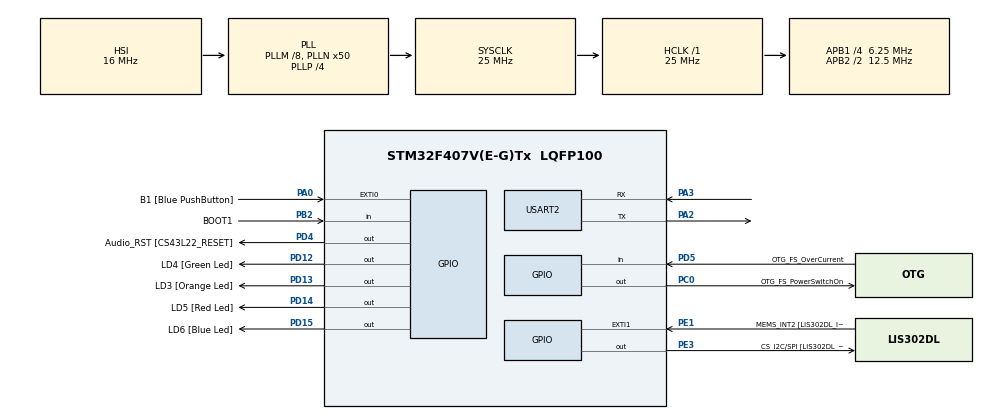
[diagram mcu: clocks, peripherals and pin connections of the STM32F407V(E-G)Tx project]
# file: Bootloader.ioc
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Mcu.Family=STM32F4
Mcu.Name=STM32F407V(E-G)Tx
Mcu.Package=LQFP100
NVIC.PriorityGroup=NVIC_PRIORITYGROUP_0
PA0-WKUP.GPIO_Label=B1 [Blue PushButton]
PA0-WKUP.Signal=GPXTI0
PA10.GPIO_Label=OTG_FS_ID
PA10.GPIO_Mode=GPIO_MODE_AF_PP
PA10.GPIO_PuPd=GPIO_NOPULL
PA10.GPIO_Speed=GPIO_SPEED_FREQ_LOW
PA10.Signal=USB_OTG_FS_ID
PA11.GPIO_Label=OTG_FS_DM
PA11.GPIO_Mode=GPIO_MODE_AF_PP
PA11.GPIO_PuPd=GPIO_NOPULL
PA11.GPIO_Speed=GPIO_SPEED_FREQ_LOW
PA11.Signal=USB_OTG_FS_DM
PA12.GPIO_Label=OTG_FS_DP
PA12.GPIO_Mode=GPIO_MODE_AF_PP
PA12.GPIO_PuPd=GPIO_NOPULL
PA12.GPIO_Speed=GPIO_SPEED_FREQ_LOW
PA12.Signal=USB_OTG_FS_DP
PA13.GPIO_Label=SWDIO
PA13.Signal=SYS_JTMS-SWDIO
PA14.GPIO_Label=SWCLK
PA14.Signal=SYS_JTCK-SWCLK
PA2.Mode=Asynchronous
PA2.Signal=USART2_TX
PA3.Mode=Asynchronous
PA3.Signal=USART2_RX
PA4.GPIO_Label=I2S3_WS [CS43L22_LRCK]
PA4.GPIO_Mode=GPIO_MODE_AF_PP
PA4.GPIO_PuPd=GPIO_NOPULL
PA4.GPIO_Speed=GPIO_SPEED_FREQ_LOW
PA4.Signal=I2S3_WS
PA5.GPIO_Label=SPI1_SCK [LIS302DL_SCL/SPC]
PA5.GPIO_Mode=GPIO_MODE_AF_PP
PA5.GPIO_PuPd=GPIO_NOPULL
PA5.GPIO_Speed=GPIO_SPEED_FREQ_LOW
PA5.Signal=SPI1_SCK
PA6.GPIO_Label=SPI1_MISO [LIS302DL_SDO]
PA6.GPIO_Mode=GPIO_MODE_AF_PP
PA6.GPIO_PuPd=GPIO_NOPULL
PA6.GPIO_Speed=GPIO_SPEED_FREQ_LOW
PA6.Signal=SPI1_MISO
PA7.GPIO_Label=SPI1_MOSI [LIS302DL_SDA/SDI/SDO]
PA7.GPIO_Mode=GPIO_MODE_AF_PP
PA7.GPIO_PuPd=GPIO_NOPULL
PA7.GPIO_Speed=GPIO_SPEED_FREQ_LOW
PA7.Signal=SPI1_MOSI
PA9.GPIO_Label=VBUS_FS
PA9.GPIO_Mode=GPIO_MODE_INPUT
PA9.GPIO_PuPd=GPIO_NOPULL
PA9.Signal=USB_OTG_FS_VBUS
PB10.GPIO_Label=CLK_IN [MP45DT02_CLK]
PB10.GPIO_Mode=GPIO_MODE_AF_PP
PB10.GPIO_PuPd=GPIO_NOPULL
PB10.GPIO_Speed=GPIO_SPEED_FREQ_LOW
PB10.Signal=I2S2_CK
PB2.GPIO_Label=BOOT1
PB2.GPIO_Mode=GPIO_MODE_INPUT
PB2.GPIO_PuPd=GPIO_NOPULL
PB2.Signal=GPIO_Input
PB3.GPIO_Label=SWO
PB3.Signal=SYS_JTDO-SWO
PB6.GPIO_Label=Audio_SCL [CS43L22_SCL]
PB6.GPIO_Mode=GPIO_MODE_AF_OD
PB6.GPIO_PuPd=GPIO_NOPULL
PB6.GPIO_Speed=GPIO_SPEED_FREQ_LOW
PB6.Signal=I2C1_SCL
PB9.GPIO_Label=Audio_SDA [CS43L22_SDA]
PB9.GPIO_Mode=GPIO_MODE_AF_OD
PB9.GPIO_PuPd=GPIO_NOPULL
PB9.GPIO_Speed=GPIO_SPEED_FREQ_LOW
PB9.Signal=I2C1_SDA
PC0.GPIO_Label=OTG_FS_PowerSwitchOn
PC0.GPIO_PuPd=GPIO_NOPULL
PC0.GPIO_Speed=GPIO_SPEED_FREQ_LOW
PC0.PinState=GPIO_PIN_SET
PC0.Signal=GPIO_Output
PC10.GPIO_Label=I2S3_SCK [CS43L22_SCLK]
PC10.GPIO_Mode=GPIO_MODE_AF_PP
PC10.GPIO_PuPd=GPIO_NOPULL
PC10.GPIO_Speed=GPIO_SPEED_FREQ_LOW
PC10.Signal=I2S3_CK
PC12.GPIO_Label=I2S3_SD [CS43L22_SDIN]
PC12.GPIO_Mode=GPIO_MODE_AF_PP
PC12.GPIO_PuPd=GPIO_NOPULL
PC12.GPIO_Speed=GPIO_SPEED_FREQ_LOW
PC12.Signal=I2S3_SD
PC14-OSC32_IN.GPIO_Label=PC14-OSC32_IN
PC14-OSC32_IN.Signal=RCC_OSC32_IN
PC15-OSC32_OUT.GPIO_Label=PC15-OSC32_OUT
PC15-OSC32_OUT.Signal=RCC_OSC32_OUT
PC3.GPIO_Label=PDM_OUT [MP45DT02_DOUT]
PC3.GPIO_Mode=GPIO_MODE_AF_PP
PC3.GPIO_PuPd=GPIO_NOPULL
PC3.GPIO_Speed=GPIO_SPEED_FREQ_LOW
PC3.Signal=I2S2_SD
PC7.GPIO_Label=I2S3_MCK [CS43L22_MCLK]
PC7.GPIO_Mode=GPIO_MODE_AF_PP
PC7.GPIO_PuPd=GPIO_NOPULL
PC7.GPIO_Speed=GPIO_SPEED_FREQ_LOW
PC7.Signal=I2S3_MCK
PD12.GPIO_Label=LD4 [Green Led]
PD12.GPIO_PuPd=GPIO_NOPULL
PD12.GPIO_Speed=GPIO_SPEED_FREQ_LOW
PD12.Signal=GPIO_Output
PD13.GPIO_Label=LD3 [Orange Led]
PD13.GPIO_PuPd=GPIO_NOPULL
PD13.GPIO_Speed=GPIO_SPEED_FREQ_LOW
PD13.Signal=GPIO_Output
PD14.GPIO_Label=LD5 [Red Led]
PD14.GPIO_PuPd=GPIO_NOPULL
PD14.GPIO_Speed=GPIO_SPEED_FREQ_LOW
PD14.Signal=GPIO_Output
PD15.GPIO_Label=LD6 [Blue Led]
PD15.GPIO_PuPd=GPIO_NOPULL
PD15.GPIO_Speed=GPIO_SPEED_FREQ_LOW
PD15.Signal=GPIO_Output
PD4.GPIO_Label=Audio_RST [CS43L22_RESET]
PD4.GPIO_PuPd=GPIO_NOPULL
PD4.GPIO_Speed=GPIO_SPEED_FREQ_LOW
PD4.Signal=GPIO_Output
PD5.GPIO_Label=OTG_FS_OverCurrent
PD5.GPIO_Mode=GPIO_MODE_INPUT
PD5.GPIO_PuPd=GPIO_NOPULL
PD5.Signal=GPIO_Input
PE1.GPIO_Label=MEMS_INT2 [LIS302DL_INT2]
PE1.GPIO_ModeDefaultEXTI=GPIO_MODE_EVT_RISING
PE1.GPIO_PuPd=GPIO_NOPULL
PE1.Signal=GPXTI1
PE3.GPIO_Label=CS_I2C/SPI [LIS302DL_CS_I2C/SPI]
PE3.GPIO_PuPd=GPIO_NOPULL
PE3.GPIO_Speed=GPIO_SPEED_FREQ_LOW
PE3.Signal=GPIO_Output
PH0-OSC_IN.GPIO_Label=PH0-OSC_IN
PH0-OSC_IN.Signal=RCC_OSC_IN
PH1-OSC_OUT.GPIO_Label=PH1-OSC_OUT
PH1-OSC_OUT.Signal=RCC_OSC_OUT
ProjectManager.HeapSize=0x200
ProjectManager.StackSize=0x400
ProjectManager.TargetToolchain=STM32CubeIDE
RCC.48MHZClocksFreq_Value=14285714.285714285
RCC.AHBFreq_Value=25000000
RCC.APB1CLKDivider=RCC_HCLK_DIV4
RCC.APB1Freq_Value=6250000
RCC.APB1TimFreq_Value=12500000
RCC.APB2CLKDivider=RCC_HCLK_DIV2
RCC.APB2Freq_Value=12500000
RCC.APB2TimFreq_Value=25000000
RCC.CortexFreq_Value=25000000
RCC.HCLKFreq_Value=25000000
RCC.HSE_VALUE=8000000
RCC.HSI_VALUE=16000000
RCC.LSE_VALUE=32768
RCC.PLLM=8
RCC.PLLN=50
RCC.PLLP=RCC_PLLP_DIV4
RCC.PLLQ=7
RCC.SYSCLKFreq_VALUE=25000000
RCC.SYSCLKSource=RCC_SYSCLKSOURCE_PLLCLK
RCC.VCOOutputFreq_Value=100000000
USART2.VirtualMode=VM_ASYNC
VP_CRC_VS_CRC.Mode=CRC_Activate
board=STM32F407G-DISC1

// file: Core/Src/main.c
/* USER CODE BEGIN Header */
/**
  ******************************************************************************
  * @file           : main.c
  * @brief          : Main program body
  ******************************************************************************
  * @attention
  *
  * <h2><center>&copy; Copyright (c) 2025 STMicroelectronics.
  * All rights reserved.</center></h2>
  *
  * This software component is licensed by ST under BSD 3-Clause license,
  * the "License"; You may not use this file except in compliance with the
  * License. You may obtain a copy of the License at:
  *                        opensource.org/licenses/BSD-3-Clause
  *
  ******************************************************************************
  */
/* USER CODE END Header */
#include "main.h"

/* USER CODE BEGIN Includes */
#include "string.h"
#include "BL.h"
/* USER CODE END Includes */

/* USER CODE BEGIN PM */
/*start flash region for user*/
#define FLASH_SECTOR2_BASE_ADDRESS       0X08008000UL
/* USER CODE END PM */

CRC_HandleTypeDef hcrc;

UART_HandleTypeDef huart2;

void SystemClock_Config(void);
static void MX_GPIO_Init(void);
static void MX_CRC_Init(void);
static void MX_USART2_UART_Init(void);

int main(void)
{
  /* USER CODE BEGIN 1 */
char HelloBootloader[]= "Hello From Bootloader\r\n" ;
  /* USER CODE END 1 */

  /* MCU Configuration--------------------------------------------------------*/

  /* Reset of all peripherals, Initializes the Flash interface and the Systick. */
  HAL_Init();

  /* Configure the system clock */
  SystemClock_Config();

  /* Initialize all configured peripherals */
  MX_GPIO_Init();
  MX_CRC_Init();
  MX_USART2_UART_Init();
  /* USER CODE BEGIN 2 */
   /*Read the button*/
 if( HAL_GPIO_ReadPin(B1_GPIO_Port, B1_Pin)== GPIO_PIN_SET)
 {
	 Bootloader_UartReadData();
 }else if(HAL_GPIO_ReadPin(B1_GPIO_Port, B1_Pin)== GPIO_PIN_RESET)
 {
	 Bootloader_JumpToUserApp();
 }
  /* USER CODE END 2 */

  /* Infinite loop */
  while (1)
  {

    /* USER CODE BEGIN 3 */
	  HAL_UART_Transmit(&huart2, (uint8_t*)HelloBootloader, sizeof(HelloBootloader), HAL_MAX_DELAY);
	      HAL_Delay(1000);
  }
  /* USER CODE END 3 */
}

void SystemClock_Config(void)
{
  RCC_OscInitTypeDef RCC_OscInitStruct = {0};
  RCC_ClkInitTypeDef RCC_ClkInitStruct = {0};

  /** Configure the main internal regulator output voltage
  */
  __HAL_RCC_PWR_CLK_ENABLE();
  __HAL_PWR_VOLTAGESCALING_CONFIG(PWR_REGULATOR_VOLTAGE_SCALE1);
  /** Initializes the RCC Oscillators according to the specified parameters
  * in the RCC_OscInitTypeDef structure.
  */
  RCC_OscInitStruct.OscillatorType = RCC_OSCILLATORTYPE_HSI;
  RCC_OscInitStruct.HSIState = RCC_HSI_ON;
  RCC_OscInitStruct.HSICalibrationValue = RCC_HSICALIBRATION_DEFAULT;
  RCC_OscInitStruct.PLL.PLLState = RCC_PLL_ON;
  RCC_OscInitStruct.PLL.PLLSource = RCC_PLLSOURCE_HSI;
  RCC_OscInitStruct.PLL.PLLM = 8;
  RCC_OscInitStruct.PLL.PLLN = 50;
  RCC_OscInitStruct.PLL.PLLP = RCC_PLLP_DIV4;
  RCC_OscInitStruct.PLL.PLLQ = 7;
  if (HAL_RCC_OscConfig(&RCC_OscInitStruct) != HAL_OK)
  {
    Error_Handler();
  }
  /** Initializes the CPU, AHB and APB buses clocks
  */
  RCC_ClkInitStruct.ClockType = RCC_CLOCKTYPE_HCLK|RCC_CLOCKTYPE_SYSCLK
                              |RCC_CLOCKTYPE_PCLK1|RCC_CLOCKTYPE_PCLK2;
  RCC_ClkInitStruct.SYSCLKSource = RCC_SYSCLKSOURCE_PLLCLK;
  RCC_ClkInitStruct.AHBCLKDivider = RCC_SYSCLK_DIV1;
  RCC_ClkInitStruct.APB1CLKDivider = RCC_HCLK_DIV4;
  RCC_ClkInitStruct.APB2CLKDivider = RCC_HCLK_DIV2;

  if (HAL_RCC_ClockConfig(&RCC_ClkInitStruct, FLASH_LATENCY_0) != HAL_OK)
  {
    Error_Handler();
  }
}

static void MX_CRC_Init(void)
{

  hcrc.Instance = CRC;
  if (HAL_CRC_Init(&hcrc) != HAL_OK)
  {
    Error_Handler();
  }

}

static void MX_USART2_UART_Init(void)
{

  huart2.Instance = USART2;
  huart2.Init.BaudRate = 115200;
  huart2.Init.WordLength = UART_WORDLENGTH_8B;
  huart2.Init.StopBits = UART_STOPBITS_1;
  huart2.Init.Parity = UART_PARITY_NONE;
  huart2.Init.Mode = UART_MODE_TX_RX;
  huart2.Init.HwFlowCtl = UART_HWCONTROL_NONE;
  huart2.Init.OverSampling = UART_OVERSAMPLING_16;
  if (HAL_UART_Init(&huart2) != HAL_OK)
  {
    Error_Handler();
  }

}

static void MX_GPIO_Init(void)
{
  GPIO_InitTypeDef GPIO_InitStruct = {0};

  /* GPIO Ports Clock Enable */
  __HAL_RCC_GPIOE_CLK_ENABLE();
  __HAL_RCC_GPIOC_CLK_ENABLE();
  __HAL_RCC_GPIOH_CLK_ENABLE();
  __HAL_RCC_GPIOA_CLK_ENABLE();
  __HAL_RCC_GPIOB_CLK_ENABLE();
  __HAL_RCC_GPIOD_CLK_ENABLE();

  /*Configure GPIO pin Output Level */
  HAL_GPIO_WritePin(CS_I2C_SPI_GPIO_Port, CS_I2C_SPI_Pin, GPIO_PIN_RESET);

  /*Configure GPIO pin Output Level */
  HAL_GPIO_WritePin(OTG_FS_PowerSwitchOn_GPIO_Port, OTG_FS_PowerSwitchOn_Pin, GPIO_PIN_SET);

  /*Configure GPIO pin Output Level */
  HAL_GPIO_WritePin(GPIOD, LD4_Pin|LD3_Pin|LD5_Pin|LD6_Pin
                          |Audio_RST_Pin, GPIO_PIN_RESET);

  /*Configure GPIO pin : CS_I2C_SPI_Pin */
  GPIO_InitStruct.Pin = CS_I2C_SPI_Pin;
  GPIO_InitStruct.Mode = GPIO_MODE_OUTPUT_PP;
  GPIO_InitStruct.Pull = GPIO_NOPULL;
  GPIO_InitStruct.Speed = GPIO_SPEED_FREQ_LOW;
  HAL_GPIO_Init(CS_I2C_SPI_GPIO_Port, &GPIO_InitStruct);

  /*Configure GPIO pin : OTG_FS_PowerSwitchOn_Pin */
  GPIO_InitStruct.Pin = OTG_FS_PowerSwitchOn_Pin;
  GPIO_InitStruct.Mode = GPIO_MODE_OUTPUT_PP;
  GPIO_InitStruct.Pull = GPIO_NOPULL;
  GPIO_InitStruct.Speed = GPIO_SPEED_FREQ_LOW;
  HAL_GPIO_Init(OTG_FS_PowerSwitchOn_GPIO_Port, &GPIO_InitStruct);

  /*Configure GPIO pin : PDM_OUT_Pin */
  GPIO_InitStruct.Pin = PDM_OUT_Pin;
  GPIO_InitStruct.Mode = GPIO_MODE_AF_PP;
  GPIO_InitStruct.Pull = GPIO_NOPULL;
  GPIO_InitStruct.Speed = GPIO_SPEED_FREQ_LOW;
  GPIO_InitStruct.Alternate = GPIO_AF5_SPI2;
  HAL_GPIO_Init(PDM_OUT_GPIO_Port, &GPIO_InitStruct);

  /*Configure GPIO pin : B1_Pin */
  GPIO_InitStruct.Pin = B1_Pin;
  GPIO_InitStruct.Mode = GPIO_MODE_IT_RISING;
  GPIO_InitStruct.Pull = GPIO_NOPULL;
  HAL_GPIO_Init(B1_GPIO_Port, &GPIO_InitStruct);

  /*Configure GPIO pin : I2S3_WS_Pin */
  GPIO_InitStruct.Pin = I2S3_WS_Pin;
  GPIO_InitStruct.Mode = GPIO_MODE_AF_PP;
  GPIO_InitStruct.Pull = GPIO_NOPULL;
  GPIO_InitStruct.Speed = GPIO_SPEED_FREQ_LOW;
  GPIO_InitStruct.Alternate = GPIO_AF6_SPI3;
  HAL_GPIO_Init(I2S3_WS_GPIO_Port, &GPIO_InitStruct);

  /*Configure GPIO pins : SPI1_SCK_Pin SPI1_MISO_Pin SPI1_MOSI_Pin */
  GPIO_InitStruct.Pin = SPI1_SCK_Pin|SPI1_MISO_Pin|SPI1_MOSI_Pin;
  GPIO_InitStruct.Mode = GPIO_MODE_AF_PP;
  GPIO_InitStruct.Pull = GPIO_NOPULL;
  GPIO_InitStruct.Speed = GPIO_SPEED_FREQ_LOW;
  GPIO_InitStruct.Alternate = GPIO_AF5_SPI1;
  HAL_GPIO_Init(GPIOA, &GPIO_InitStruct);

  /*Configure GPIO pin : BOOT1_Pin */
  GPIO_InitStruct.Pin = BOOT1_Pin;
  GPIO_InitStruct.Mode = GPIO_MODE_INPUT;
  GPIO_InitStruct.Pull = GPIO_NOPULL;
  HAL_GPIO_Init(BOOT1_GPIO_Port, &GPIO_InitStruct);

  /*Configure GPIO pin : CLK_IN_Pin */
  GPIO_InitStruct.Pin = CLK_IN_Pin;
  GPIO_InitStruct.Mode = GPIO_MODE_AF_PP;
  GPIO_InitStruct.Pull = GPIO_NOPULL;
  GPIO_InitStruct.Speed = GPIO_SPEED_FREQ_LOW;
  GPIO_InitStruct.Alternate = GPIO_AF5_SPI2;
  HAL_GPIO_Init(CLK_IN_GPIO_Port, &GPIO_InitStruct);

  /*Configure GPIO pins : LD4_Pin LD3_Pin LD5_Pin LD6_Pin
                           Audio_RST_Pin */
  GPIO_InitStruct.Pin = LD4_Pin|LD3_Pin|LD5_Pin|LD6_Pin
                          |Audio_RST_Pin;
  GPIO_InitStruct.Mode = GPIO_MODE_OUTPUT_PP;
  GPIO_InitStruct.Pull = GPIO_NOPULL;
  GPIO_InitStruct.Speed = GPIO_SPEED_FREQ_LOW;
  HAL_GPIO_Init(GPIOD, &GPIO_InitStruct);

  /*Configure GPIO pins : I2S3_MCK_Pin I2S3_SCK_Pin I2S3_SD_Pin */
  GPIO_InitStruct.Pin = I2S3_MCK_Pin|I2S3_SCK_Pin|I2S3_SD_Pin;
  GPIO_InitStruct.Mode = GPIO_MODE_AF_PP;
  GPIO_InitStruct.Pull = GPIO_NOPULL;
  GPIO_InitStruct.Speed = GPIO_SPEED_FREQ_LOW;
  GPIO_InitStruct.Alternate = GPIO_AF6_SPI3;
  HAL_GPIO_Init(GPIOC, &GPIO_InitStruct);

  /*Configure GPIO pin : VBUS_FS_Pin */
  GPIO_InitStruct.Pin = VBUS_FS_Pin;
  GPIO_InitStruct.Mode = GPIO_MODE_INPUT;
  GPIO_InitStruct.Pull = GPIO_NOPULL;
  HAL_GPIO_Init(VBUS_FS_GPIO_Port, &GPIO_InitStruct);

  /*Configure GPIO pins : OTG_FS_ID_Pin OTG_FS_DM_Pin OTG_FS_DP_Pin */
  GPIO_InitStruct.Pin = OTG_FS_ID_Pin|OTG_FS_DM_Pin|OTG_FS_DP_Pin;
  GPIO_InitStruct.Mode = GPIO_MODE_AF_PP;
  GPIO_InitStruct.Pull = GPIO_NOPULL;
  GPIO_InitStruct.Speed = GPIO_SPEED_FREQ_LOW;
  GPIO_InitStruct.Alternate = GPIO_AF10_OTG_FS;
  HAL_GPIO_Init(GPIOA, &GPIO_InitStruct);

  /*Configure GPIO pin : OTG_FS_OverCurrent_Pin */
  GPIO_InitStruct.Pin = OTG_FS_OverCurrent_Pin;
  GPIO_InitStruct.Mode = GPIO_MODE_INPUT;
  GPIO_InitStruct.Pull = GPIO_NOPULL;
  HAL_GPIO_Init(OTG_FS_OverCurrent_GPIO_Port, &GPIO_InitStruct);

  /*Configure GPIO pins : Audio_SCL_Pin Audio_SDA_Pin */
  GPIO_InitStruct.Pin = Audio_SCL_Pin|Audio_SDA_Pin;
  GPIO_InitStruct.Mode = GPIO_MODE_AF_OD;
  GPIO_InitStruct.Pull = GPIO_PULLUP;
  GPIO_InitStruct.Speed = GPIO_SPEED_FREQ_LOW;
  GPIO_InitStruct.Alternate = GPIO_AF4_I2C1;
  HAL_GPIO_Init(GPIOB, &GPIO_InitStruct);

  /*Configure GPIO pin : MEMS_INT2_Pin */
  GPIO_InitStruct.Pin = MEMS_INT2_Pin;
  GPIO_InitStruct.Mode = GPIO_MODE_EVT_RISING;
  GPIO_InitStruct.Pull = GPIO_NOPULL;
  HAL_GPIO_Init(MEMS_INT2_GPIO_Port, &GPIO_InitStruct);

}

/* USER CODE BEGIN 4 */

/*
 * Bootloader_UartReadData
 * ------------------------
 * This function continuously listens for commands from the host via UART.
 * It follows a structured protocol:
 *  1. Reads the first byte, which contains the length of the remaining command.
 *  2. Reads the full command based on the received length.
 *  3. Parses the command and executes the corresponding handler function.
 */
void Bootloader_UartReadData(void)
{
	/* Buffer to store the received command packet */
	uint8_t Local_uint8CmdPacket[255] ={0};

   /* Infinite loop to keep listening for commands */
	while(1)
	{
       /* Clear the command packet buffer before reading a new command */
		memset(Local_uint8CmdPacket,0,255); // memset(array , value to put , size )

		/*
		        * Step 1: Read the first byte from UART.
		        * This byte contains the "Length to Follow" field, which tells how many bytes
		        * are coming next in the packet.
        */
		HAL_UART_Receive(&huart2, Local_uint8CmdPacket, 1, HAL_MAX_DELAY);

		/*
		        * Step 2: Read the remaining bytes of the command.
		        * It's size is the previous byte value .
	   */
		HAL_UART_Receive(&huart2, &Local_uint8CmdPacket[1], Local_uint8CmdPacket[0], HAL_MAX_DELAY);

		/*
		        * Step 3: Check the command code (second byte in the packet)
		        * and call the corresponding handler function.
		        */
		switch(Local_uint8CmdPacket[1])     /*this byte includes the command code*/
		{
		case BL_GET_VESRION        :BL_voidHandleGetVERCmd(Local_uint8CmdPacket)                  ;        break;
		case BL_GET_HELP           :BL_voidHandleGetHelpCmd(Local_uint8CmdPacket)                 ;        break;
		case BL_GET_CID            :BL_voidHandleGetCIDcmd(Local_uint8CmdPacket)                  ;        break;
		case BL_GET_RDP_STATUS     :BL_voidHandleGetRDPStatusCmd(Local_uint8CmdPacket)            ;        break;
		case BL_GO_TO_ADDR         :BL_voidHandleGoToAddressCmd(Local_uint8CmdPacket)             ;        break;
		case BL_FLASH_ERASE        :BL_voidHandleFlashEraseCmd(Local_uint8CmdPacket)              ;        break;
		case BL_MEM_WRITE          :BL_voidHandleMemWriteCmd(Local_uint8CmdPacket)                ;        break;
		case BL_EN_RW_PROTECT      :BL_voidHandleEnRWProtectCmd(Local_uint8CmdPacket)             ;        break;
		case BL_MEM_READ           :BL_voidHandleMemReadCmd(Local_uint8CmdPacket)                 ;        break;
		case BL_READ_SECTOR_STATUS :BL_voidHandleReadSectorStatusCmd(Local_uint8CmdPacket)        ;        break;
		case BL_OTP_READ           :BL_voidHandleOTPReadCmd(Local_uint8CmdPacket)                 ;        break;
		case BL_DIS_WR_PROTECT     :BL_voidHandleDisWRProtectCmd(Local_uint8CmdPacket)            ;        break;

		default : /*Invalid command from host */ break ;
		}
	}
}

/*
 * Bootloader_JumpToUserApp
 * ------------------------
 * This function transfers execution from the Bootloader to the User Application.
 * It achieves this by setting the MSP (Main Stack Pointer) and jumping to the
 * Reset Handler of the user application.
 */
void Bootloader_JumpToUserApp(void)
{
	uint32_t ResetHandlerAddress ,Local_uint32MSPVal;

	/*
	     * Pointer to function to hold the address of the User Application's Reset Handler.
	     * This is required to jump to the application after setting the stack pointer.
    */
		void (*App_ResetHandle)(void);

	/*
		     * Step 1: Configure the MSP (Main Stack Pointer) for the User Application.
		     * The MSP value is stored at the first address of the application's Vector Table,
		     * which is located at the base address of FLASH Sector 2.
    */
 	Local_uint32MSPVal =  *((volatile uint32_t*)FLASH_SECTOR2_BASE_ADDRESS);

	/*
	     * Step 2: Load the User Application MSP value into the MSP register.
	     * This ensures that the stack pointer is correctly set before executing the application.
    */
	 __asm volatile("MSR MSP ,%0"::"r"(Local_uint32MSPVal));

	/*
	     * Step 3: Retrieve the Reset Handler address of the User Application.
	     * This is stored at the second entry in the Vector Table (offset +4 from base address).
   */
	 ResetHandlerAddress = *((volatile uint32_t*)(FLASH_SECTOR2_BASE_ADDRESS+ 4));
	/*
	     * Step 4: Assign the Reset Handler address to the function pointer.
	     * This allows the program to jump to the application by calling this function.
   */
	App_ResetHandle =(void*)ResetHandlerAddress;

	/*
	     * Step 5: Jump to the User Application's Reset Handler.
	     * This effectively transfers control from the Bootloader to the application.
   */
	App_ResetHandle();

}
/* USER CODE END 4 */

void Error_Handler(void)
{
}

/************************ (C) COPYRIGHT STMicroelectronics *****END OF FILE****/
